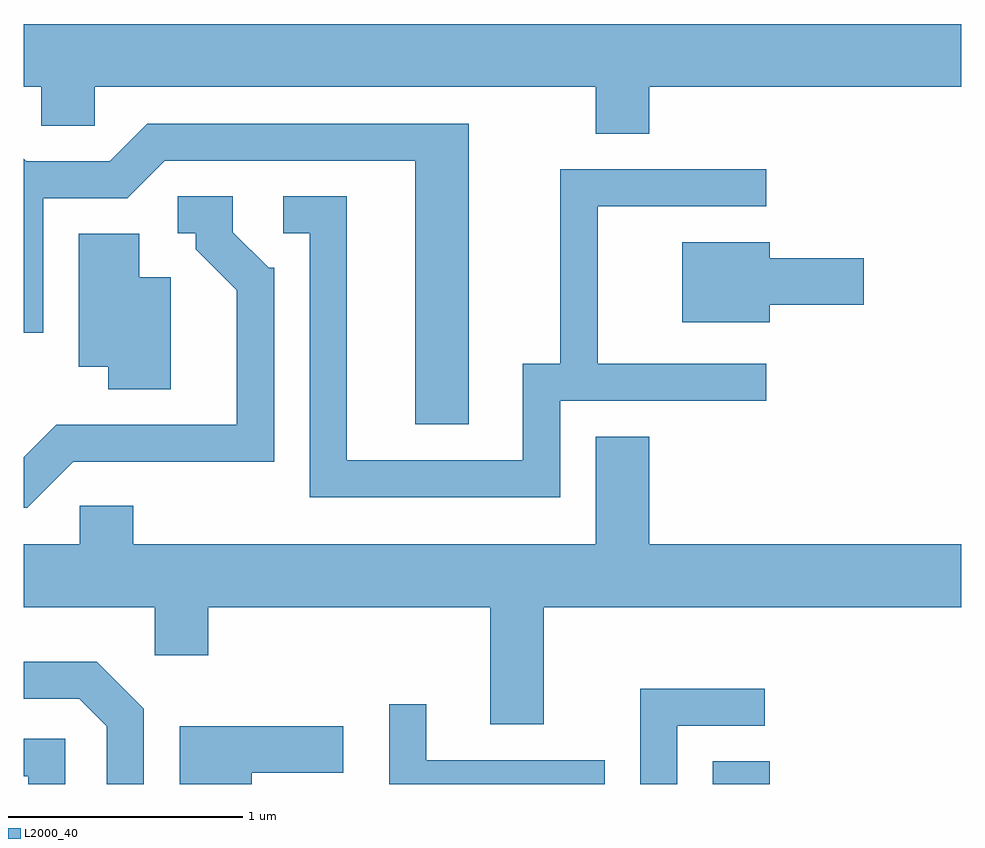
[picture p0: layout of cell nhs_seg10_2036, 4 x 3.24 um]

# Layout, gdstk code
import gdstk
lib = gdstk.Library(unit=1e-6, precision=1e-09)
def R(c, l, rs):  # rectangles x0, y0, x1, y1
    for r in rs: c.add(gdstk.rectangle(r[:2], r[2:], *l))
def P(c, l, *ps):  # polygons
    for p in ps: c.add(gdstk.Polygon(p, *l))
L2000_40 = (2000, 40)

nhs_seg10_2036 = lib.new_cell('nhs_seg10_2036')
R(nhs_seg10_2036, L2000_40, [(248.551,2086.522,248.794,2086.619)])
P(nhs_seg10_2036, L2000_40, [(245.611,2089.496),(245.686,2089.496),(245.686,2089.331),(245.914,2089.331),(245.914,2089.496),(248.051,2089.496),(248.051,2089.296),(248.279,2089.296),(248.279,2089.496),(249.611,2089.496),(249.611,2089.764),(245.611,2089.764)],
  [(247.509,2089.339),(246.139,2089.339),(245.979,2089.179),(245.622,2089.179),(245.611,2089.19),(245.611,2088.448),(245.694,2088.448),(245.694,2089.021),(246.052,2089.021),(246.212,2089.181),(247.281,2089.181),(247.281,2088.056),(247.509,2088.056)],
  [(247.899,2088.156),(248.778,2088.156),(248.778,2088.314),(248.059,2088.314),(248.059,2088.986),(248.778,2088.986),(248.778,2089.144),(247.901,2089.144),(247.901,2088.314),(247.741,2088.314),(247.741,2087.904),(246.989,2087.904),(246.989,2089.029),(246.718,2089.029),(246.718,2088.871),(246.831,2088.871),(246.831,2087.746),(247.899,2087.746)],
  [(245.822,2087.896),(246.679,2087.896),(246.679,2088.724),(246.657,2088.724),(246.504,2088.876),(246.504,2089.029),(246.268,2089.029),(246.268,2088.871),(246.346,2088.871),(246.346,2088.804),(246.521,2088.629),(246.521,2088.054),(245.749,2088.054),(245.611,2087.916),(245.611,2087.701),(245.627,2087.701)],
  [(246.239,2088.684),(246.104,2088.684),(246.104,2088.869),(245.846,2088.869),(245.846,2088.301),(245.971,2088.301),(245.971,2088.206),(246.239,2088.206)],
  [(248.794,2088.566),(249.194,2088.566),(249.194,2088.764),(248.794,2088.764),(248.794,2088.834),(248.421,2088.834),(248.421,2088.491),(248.794,2088.491)],
  [(247.829,2087.276),(249.611,2087.276),(249.611,2087.544),(248.279,2087.544),(248.279,2088.004),(248.051,2088.004),(248.051,2087.544),(246.079,2087.544),(246.079,2087.709),(245.851,2087.709),(245.851,2087.544),(245.611,2087.544),(245.611,2087.276),(246.171,2087.276),(246.171,2087.071),(246.399,2087.071),(246.399,2087.276),(247.601,2087.276),(247.601,2086.776),(247.829,2086.776)],
  [(246.124,2086.842),(245.922,2087.044),(245.611,2087.044),(245.611,2086.886),(245.849,2086.886),(245.966,2086.769),(245.966,2086.522),(246.124,2086.522)],
  [(248.399,2086.771),(248.773,2086.771),(248.773,2086.929),(248.241,2086.929),(248.241,2086.522),(248.399,2086.522)],
  [(248.089,2086.624),(247.329,2086.624),(247.329,2086.863),(247.171,2086.863),(247.171,2086.522),(248.089,2086.522)],
  [(246.584,2086.571),(246.974,2086.571),(246.974,2086.769),(246.276,2086.769),(246.276,2086.522),(246.584,2086.522)],
  [(245.789,2086.714),(245.611,2086.714),(245.611,2086.556),(245.631,2086.556),(245.631,2086.522),(245.789,2086.522)])

lib.write_gds('nhs_seg10_2036.gds')
